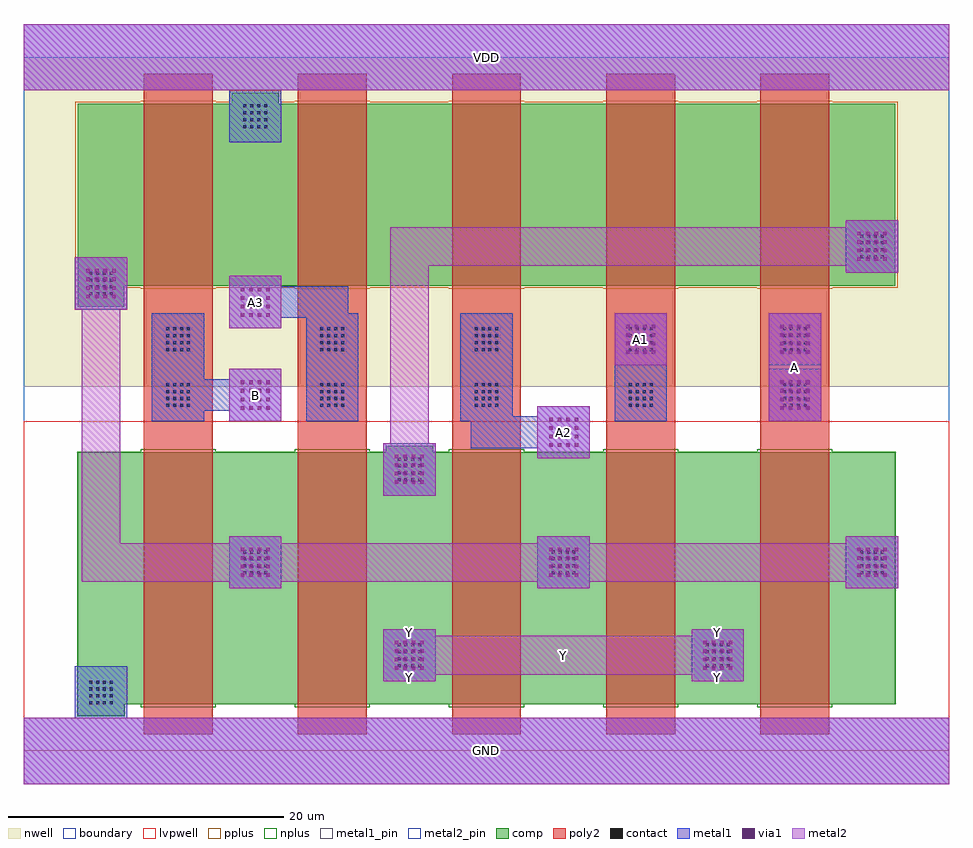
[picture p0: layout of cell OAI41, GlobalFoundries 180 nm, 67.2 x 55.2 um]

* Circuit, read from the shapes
.subckt OAI41 A A1 A2 A3 B GND VDD Y
XM1 n1 B GND VSUBS nfet_03v3 w=18.3u l=5u
XM2 Y A3 n1 VSUBS nfet_03v3 w=18.3u l=5u
XM3 n1 A2 Y VSUBS nfet_03v3 w=18.3u l=5u
XM4 Y A1 n1 VSUBS nfet_03v3 w=18.3u l=5u
XM5 n1 A Y VSUBS nfet_03v3 w=18.3u l=5u
XM6 VDD B n1 n2 pfet_03v3 w=13.2u l=5u
XM7 n3 A3 VDD n2 pfet_03v3 w=13.2u l=5u
XM8 n4 A2 n3 n2 pfet_03v3 w=13.2u l=5u
XM9 n5 A1 n4 n2 pfet_03v3 w=13.2u l=5u
XM10 Y A n5 n2 pfet_03v3 w=13.2u l=5u
.ends

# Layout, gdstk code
import gdstk
lib = gdstk.Library(unit=1e-6, precision=1e-09)
def R(c, l, rs):  # rectangles x0, y0, x1, y1
    for r in rs: c.add(gdstk.rectangle(r[:2], r[2:], *l))
def A(c, l, x, y, w, h, nx, ny, dx, dy):  # array of equal rectangles
    R(c, l, [(x+i*dx, y+j*dy, x+i*dx+w, y+j*dy+h) for i in range(nx) for j in range(ny)])
boundary = (0, 0)
nwell = (21, 0)
comp = (22, 0)
poly2 = (30, 0)
pplus = (31, 0)
nplus = (32, 0)
contact = (33, 0)
metal1 = (34, 0)
metal1_pin = (34, 10)
via1 = (35, 0)
metal2 = (36, 0)
metal2_pin = (36, 10)
lvpwell = (204, 0)

oai41 = lib.new_cell('OAI41')
R(oai41, boundary, [(0,0,67.2,50.4)])
R(oai41, nwell, [(0,26.45,67.2,50.4)])
R(oai41, comp, [(3.9,2.55,7.3,3.4), (3.9,3.4,63.3,21.7), (26.3,21.7,29.7,22.15), (3.9,32.25,7.3,33.8), (3.9,33.8,63.3,47), (15.1,47,18.5,47.8)])
A(oai41, poly2, 8.7, 1.2, 5, 48, 5, 1, 11.2, 0)
A(oai41, pplus, 8.47, 33.57, 5.46, 0.07, 5, 2, 11.2, 13.59)
R(oai41, pplus, [(3.74,32.09,7.46,33.64), (3.74,33.64,63.46,47.16), (14.94,47.16,18.66,47.96)])
A(oai41, nplus, 8.47, 3.17, 5.46, 0.21, 5, 2, 11.2, 18.55)
R(oai41, nplus, [(3.88,2.53,7.32,3.38), (3.88,3.38,63.32,21.72), (26.28,21.72,29.72,22.17)])
A(oai41, contact, 4.74, 3.39, 0.22, 0.22, 4, 4, 0.5, 0.5)
A(oai41, contact, 27.14, 6.09, 0.22, 0.22, 4, 4, 0.5, 0.5)
A(oai41, contact, 49.54, 6.09, 0.22, 0.22, 4, 4, 0.5, 0.5)
A(oai41, contact, 15.94, 12.84, 0.22, 0.22, 4, 4, 0.5, 0.5)
A(oai41, contact, 38.34, 12.84, 0.22, 0.22, 4, 4, 0.5, 0.5)
A(oai41, contact, 60.74, 12.84, 0.22, 0.22, 4, 4, 0.5, 0.5)
A(oai41, contact, 27.14, 19.59, 0.22, 0.22, 4, 4, 0.5, 0.5)
A(oai41, contact, 10.34, 24.99, 0.22, 0.22, 4, 4, 0.5, 0.5)
A(oai41, contact, 21.54, 24.99, 0.22, 0.22, 4, 4, 0.5, 0.5)
A(oai41, contact, 32.74, 24.99, 0.22, 0.22, 4, 4, 0.5, 0.5)
A(oai41, contact, 43.94, 24.99, 0.22, 0.22, 4, 4, 0.5, 0.5)
A(oai41, contact, 55.14, 24.99, 0.22, 0.22, 4, 4, 0.5, 0.5)
A(oai41, contact, 10.34, 29.04, 0.22, 0.22, 4, 4, 0.5, 0.5)
A(oai41, contact, 21.54, 29.04, 0.22, 0.22, 4, 4, 0.5, 0.5)
A(oai41, contact, 32.74, 29.04, 0.22, 0.22, 4, 4, 0.5, 0.5)
A(oai41, contact, 43.94, 29.04, 0.22, 0.22, 4, 4, 0.5, 0.5)
A(oai41, contact, 55.14, 29.04, 0.22, 0.22, 4, 4, 0.5, 0.5)
A(oai41, contact, 4.74, 33.09, 0.22, 0.22, 4, 4, 0.5, 0.5)
A(oai41, contact, 60.74, 35.79, 0.22, 0.22, 4, 4, 0.5, 0.5)
A(oai41, contact, 15.94, 45.24, 0.22, 0.22, 4, 4, 0.5, 0.5)
A(oai41, metal1, 14.9, 11.8, 3.8, 3.8, 3, 1, 22.4, 0)
R(oai41, metal1, [(0,-2.4,67.2,2.4), (3.7,2.4,7.5,6.15), (26.1,5.05,29.9,8.85), (48.5,5.05,52.3,8.85), (26.1,18.55,29.9,22.35), (37.3,21.25,41.1,22), (32.45,22,41.1,23.95), (9.3,23.95,13.1,24.7), (14.9,23.95,18.7,24.7), (20.5,23.95,24.3,31.45), (31.7,23.95,41.1,24.3), (42.9,23.95,46.7,31.8), (54.1,23.95,57.9,27.75), (31.7,24.3,35.5,31.8), (37.3,24.3,41.1,25.05), (9.3,24.7,18.7,27), (9.3,27,13.1,31.8), (14.9,27,18.7,27.75), (54.1,28,57.9,31.8), (14.9,30.7,18.7,31.45), (14.9,31.45,24.3,31.8), (14.9,31.8,23.55,33.75), (3.7,32.05,7.5,35.85), (14.9,33.75,18.7,34.5), (59.7,34.75,63.5,38.55), (14.9,44.2,18.7,48), (0,48,67.2,52.8)])
R(oai41, metal1_pin, [(0,-2.4,67.2,2.4), (0,48,67.2,52.8)])
A(oai41, via1, 26.94, 5.89, 0.26, 0.26, 4, 4, 0.62, 0.62)
A(oai41, via1, 49.34, 5.89, 0.26, 0.26, 4, 4, 0.62, 0.62)
A(oai41, via1, 15.74, 12.64, 0.26, 0.26, 4, 4, 0.62, 0.62)
A(oai41, via1, 38.14, 12.64, 0.26, 0.26, 4, 4, 0.62, 0.62)
A(oai41, via1, 60.54, 12.64, 0.26, 0.26, 4, 4, 0.62, 0.62)
A(oai41, via1, 26.94, 19.39, 0.26, 0.26, 4, 4, 0.62, 0.62)
A(oai41, via1, 38.14, 22.09, 0.26, 0.26, 4, 4, 0.62, 0.62)
A(oai41, via1, 15.74, 24.79, 0.26, 0.26, 4, 4, 0.62, 0.62)
A(oai41, via1, 54.94, 24.79, 0.26, 0.26, 4, 4, 0.62, 0.62)
A(oai41, via1, 43.74, 28.84, 0.26, 0.26, 4, 4, 0.62, 0.62)
A(oai41, via1, 54.94, 28.84, 0.26, 0.26, 4, 4, 0.62, 0.62)
A(oai41, via1, 15.74, 31.54, 0.26, 0.26, 4, 4, 0.62, 0.62)
A(oai41, via1, 4.54, 32.89, 0.26, 0.26, 4, 4, 0.62, 0.62)
A(oai41, via1, 60.54, 35.59, 0.26, 0.26, 4, 4, 0.62, 0.62)
A(oai41, metal2, 14.9, 11.8, 3.8, 0.5, 3, 2, 22.4, 3.3)
R(oai41, metal2, [(0,-2.4,67.2,2.4), (26.1,5.05,29.9,5.55), (48.5,5.05,52.3,5.55), (26.1,5.55,52.3,8.35), (26.1,8.35,29.9,8.85), (48.5,8.35,52.3,8.85), (4.2,12.3,63.5,15.1), (4.2,15.1,7,32.05), (26.1,18.55,29.9,22.35), (37.3,21.25,41.1,25.05), (26.6,22.35,29.4,35.25), (14.9,23.95,18.7,27.75), (54.1,23.95,57.9,31.8), (42.9,28,46.7,31.8), (14.9,30.7,18.7,34.5), (3.7,32.05,7.5,35.85), (59.7,34.75,63.5,35.25), (26.6,35.25,63.5,38.05), (59.7,38.05,63.5,38.55), (0,48,67.2,52.8)])
R(oai41, metal2_pin, [(26.1,5.05,29.9,5.55), (48.5,5.05,52.3,5.55), (26.1,5.55,52.3,8.35), (26.1,8.35,29.9,8.85), (48.5,8.35,52.3,8.85), (37.3,21.25,41.1,25.05), (14.9,23.95,18.7,27.75), (54.1,23.95,57.9,31.8), (42.9,28,46.7,31.8), (14.9,30.7,18.7,34.5)])
R(oai41, lvpwell, [(0,0,67.2,23.95)])
oai41.add(gdstk.Label('VDD', (33.6,50.4), layer=34, texttype=10))
oai41.add(gdstk.Label('GND', (33.6,0), layer=34, texttype=10))
oai41.add(gdstk.Label('Y', (28,5.3), layer=36, texttype=10))
oai41.add(gdstk.Label('Y', (50.4,5.3), layer=36, texttype=10))
oai41.add(gdstk.Label('Y', (39.2,6.95), layer=36, texttype=10))
oai41.add(gdstk.Label('Y', (28,8.6), layer=36, texttype=10))
oai41.add(gdstk.Label('Y', (50.4,8.6), layer=36, texttype=10))
oai41.add(gdstk.Label('A1', (44.8,29.9), layer=36, texttype=10))
oai41.add(gdstk.Label('B', (16.8,25.85), layer=36, texttype=10))
oai41.add(gdstk.Label('A3', (16.8,32.6), layer=36, texttype=10))
oai41.add(gdstk.Label('A', (56,27.875), layer=36, texttype=10))
oai41.add(gdstk.Label('A2', (39.2,23.15), layer=36, texttype=10))

lib.write_gds('OAI41.gds')
